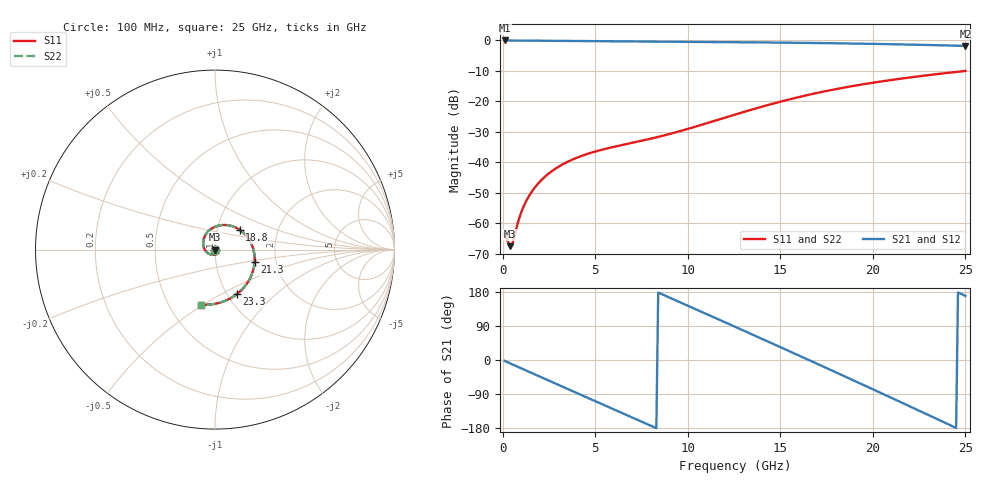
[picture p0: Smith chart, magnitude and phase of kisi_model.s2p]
! kisi A_s4_d200_ap600: fast channel model (formula impedances, via model), up to 25 GHz
# Hz S RI R 50
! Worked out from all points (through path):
!   250 points, 100 MHz to 25 GHz, reference 50 ohm
!   highest |S21| = -0.01 dB at 100 MHz (marker M1); lowest = -1.8 dB at 25 GHz (marker M2)
!   group delay of S21, straight-line fit = 61 ps
!   lowest |S11| = -67.4 dB at 400 MHz (marker M3), VSWR 1.00, Z = 50 + j0.022 ohm
!   |S11| at or under -10 dB: start of sweep to end of sweep
!   |S22| runs from -67.4 to -10.0 dB; largest |S21 - S12| = 0
!   S11 on the Smith chart (normalised r, x): 100 MHz: 1.00, -0.00; 18.8 GHz: 1.28, +0.29; 21.3 GHz: 1.54, -0.23; 23.3 GHz: 1.10, -0.60; 25 GHz: 0.72, -0.49
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1e8  0.000665 -1.84e-05  0.9978 -0.0394  0.9978 -0.0394  0.000665 -1.84e-05
4e8  0.000363 0.00022  0.9847 -0.1542  0.9847 -0.1542  0.000363 0.00022
5e8  0.00025 0.000368  0.9775 -0.1917  0.9775 -0.1917  0.00025 0.000368
1.1e9  -0.000159 0.00181  0.9054 -0.4072  0.9054 -0.4072  -0.000159 0.00181
1.8e9  0.000469 0.00409  0.7637 -0.6284  0.7637 -0.6284  0.000469 0.00409
3.1e9  0.00532 0.00703  0.3742 -0.9084  0.3742 -0.9084  0.00532 0.00703
4.3e9  0.0119 0.005  -0.0604 -0.9746  -0.0604 -0.9746  0.0119 0.005
5.4e9  0.0162 -0.00165  -0.4453 -0.863  -0.4453 -0.863  0.0162 -0.00165
6.6e9  0.0155 -0.0122  -0.773 -0.5783  -0.773 -0.5783  0.0155 -0.0122
8.4e9  0.00134 -0.0262  -0.956 0.035  -0.956 0.035  0.00134 -0.0262
9.5e9  -0.0139 -0.0289  -0.8557 0.4157  -0.8557 0.4157  -0.0139 -0.0289
1.07e10  -0.0336 -0.0235  -0.5828 0.7445  -0.5828 0.7445  -0.0336 -0.0235
1.26e10  -0.0609 0.00833  0.0544 0.9339  0.0544 0.9339  -0.0609 0.00833
1.37e10  -0.0659 0.0401  0.4278 0.825  0.4278 0.825  -0.0659 0.0401
1.49e10  -0.0533 0.0813  0.7437 0.5447  0.7437 0.5447  -0.0533 0.0813
1.67e10  0.0118 0.1313  0.9071 -0.0566  0.9071 -0.0566  0.0118 0.1313
1.88e10  0.1374 0.1106  0.5681 -0.6856  0.5681 -0.6856  0.1374 0.1106
1.99e10  0.1944 0.049  0.2272 -0.8492  0.2272 -0.8492  0.1944 0.049
2.09e10  0.2201 -0.0335  -0.1137 -0.8603  -0.1137 -0.8603  0.2201 -0.0335
2.13e10  0.2204 -0.0709  -0.246 -0.8272  -0.246 -0.8272  0.2204 -0.0709
2.33e10  0.1202 -0.2493  -0.7387 -0.3939  -0.7387 -0.3939  0.1202 -0.2493
2.5e10  -0.0766 -0.3067  -0.7984 0.1522  -0.7984 0.1522  -0.0766 -0.3067
